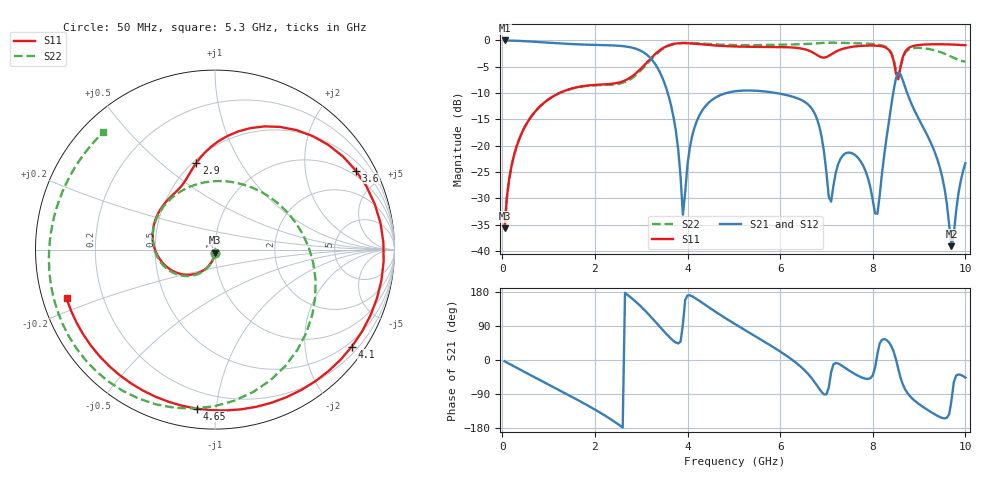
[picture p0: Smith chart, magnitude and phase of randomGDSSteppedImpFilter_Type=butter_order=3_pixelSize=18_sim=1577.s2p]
! freq	dB(S11)	phase(S11)	dB(S12)	phase(S12)
!  dB(S21)	phase(S21)	dB(S22)	phase(S22)
!S-par simulation data
#  GHz  S  DB  R 50
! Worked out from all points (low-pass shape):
!   200 points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, 50 MHz to 10 GHz, reference 50 ohm
!   highest |S21| = -0.01 dB at 50 MHz (marker M1); lowest = -39.1 dB at 9.7 GHz (marker M2)
!   |S21| within 3 dB of the highest: start of sweep to 3.159 GHz
!   lowest |S11| = -35.7 dB at 50 MHz (marker M3), VSWR 1.03, Z = 49.9 - j1.63 ohm
!   |S11| at or under -10 dB: start of sweep to 1.232 GHz
!   |S22| runs from -35.7 to -0.4 dB; largest |S21 - S12| = 0
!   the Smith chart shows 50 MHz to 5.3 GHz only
!   S11 on the Smith chart (normalised r, x): 50 MHz: 1.00, -0.03; 2.9 GHz: 0.52, +0.66; 3.6 GHz: 0.79, +3.66; 4.1 GHz: 0.37, -3.10; 4.65 GHz: 0.10, -0.89; 5.3 GHz: 0.07, -0.16
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0.05  -35.72 -93.1  -0.01 -3.4  -0.01 -3.4  -35.70 -92.7
0.5  -16.20 -124.3  -0.15 -32.8  -0.15 -32.8  -16.20 -122.3
1.75  -8.68 156.9  -0.79 -113.6  -0.79 -113.6  -8.72 155.0
2.9  -6.13 102.2  -1.63 151.8  -1.63 151.8  -6.47 18.1
3.4  -1.88 55.8  -6.00 87.9  -6.00 87.9  -2.04 -67.1
3.6  -0.92 29.3  -10.81 61.4  -10.81 61.4  -0.98 -97.4
3.9  -0.51 -10.5  -33.11 94.0  -33.11 94.0  -0.47 -134.3
4.1  -0.59 -35.3  -18.15 168.1  -18.15 168.1  -0.49 -153.5
4.65  -0.99 -96.5  -10.63 123.6  -10.63 123.6  -0.78 167.8
5.05  -1.16 -137.2  -9.63 93.0  -9.63 93.0  -0.88 146.1
5.3  -1.20 -161.8  -9.51 74.6  -9.51 74.6  -0.89 133.7
6.25  -1.34 95.2  -10.64 1.5  -10.64 1.5  -0.77 89.2
6.7  -2.26 5.0  -13.16 -51.0  -13.16 -51.0  -0.61 68.4
6.95  -3.27 -101.0  -21.34 -90.8  -21.34 -90.8  -0.45 56.0
7.15  -2.39 176.1  -27.63 -11.7  -27.63 -11.7  -0.43 45.4
7.6  -1.16 87.6  -21.66 -36.1  -21.66 -36.1  -0.53 21.8
8.1  -1.01 35.2  -32.92 15.9  -32.92 15.9  -0.78 -8.2
8.35  -1.82 8.7  -15.27 46.5  -15.27 46.5  -1.66 -29.9
8.6  -5.00 30.1  -6.47 -46.8  -6.47 -46.8  -4.93 -11.7
9.2  -0.75 -18.9  -18.43 -133.0  -18.43 -133.0  -1.61 -70.6
9.7  -0.77 -46.1  -39.08 -106.0  -39.08 -106.0  -3.10 -138.9
10  -0.92 -61.1  -23.32 -46.6  -23.32 -46.6  -4.03 156.7
